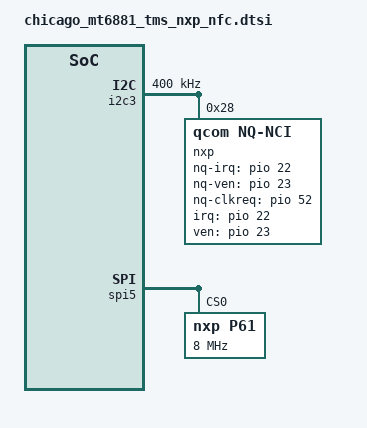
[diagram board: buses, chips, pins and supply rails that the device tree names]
//NFCC for Mediateckstart
&i2c3 {
    status = "okay";
    clock-frequency = <400000>;
    nxp@28 {
        compatible = "qcom,nq-nci";
        reg = <0x28>;
        qcom,nq-irq         = <&pio 22 0x00>;
        interrupt-parent    = <&pio>;
        interrupts          = <22 IRQ_TYPE_LEVEL_HIGH 22 0>;
        qcom,nq-ven         = <&pio 23 0x0>;
        qcom,nq-clkreq      = <&pio 52 0x0>;

        tms,device-name   = "tms_nfc";
        tms,device-count  = <1>;
        tms,irq-gpio         = <&pio 22 0x00>;
        tms,ven-gpio         = <&pio 23 0x0>;
        //tms,download-gpio    = <&pio xx 0x0>;

        interrupt-names = "nfc_irq";
        pinctrl-names   = "default", "nfc_active", "nfc_suspend";
        pinctrl-0 = <&nfc_default>;
        pinctrl-1 = <&nfc_int_active &nfc_enable_active
                    &nfc_clk_req_active>;
        pinctrl-2 = <&nfc_int_suspend &nfc_enable_suspend
                    &nfc_clk_req_suspend>;
    };
};
//&clock_buffer_ctrl {
//    mediatek,xo-bbck4 = <1>;
//};
&pio {
    nfc_default: nfc_default {
    };
    nfc_int_active: nfc_int_active {
        pins_cmd_dat {
            pinmux = <PINMUX_GPIO22__FUNC_GPIO22>;
            slew-rate = <0>;
            drive-strength = <MTK_DRIVE_2mA>;
            bias-pull-up;
        };
    };
    nfc_int_suspend: nfc_int_suspend {
        pins_cmd_dat {
            pinmux = <PINMUX_GPIO22__FUNC_GPIO22>;
            slew-rate = <0>;
            drive-strength = <MTK_DRIVE_2mA>;
            bias-pull-up;
        };
    };
    nfc_enable_active: nfc_enable_active {
        pins_cmd_dat {
            pinmux = <PINMUX_GPIO23__FUNC_GPIO23>;
            slew-rate = <1>;
            output-high;
            drive-strength = <MTK_DRIVE_2mA>;
            bias-pull-up=<MTK_PUPD_SET_R1R0_11>;
        };
    };
    nfc_enable_suspend: nfc_enable_suspend {
        pins_cmd_dat {
            pinmux = <PINMUX_GPIO23__FUNC_GPIO23>;
            slew-rate = <1>;
            drive-strength = <MTK_DRIVE_2mA>;
            bias-disable;
        };
    };
    nfc_clk_req_active: nfc_clk_req_active {
        pins_cmd_dat {
            pinmux = <PINMUX_GPIO52__FUNC_SRCLKENAI0>;
            slew-rate = <0>;
            input-enable;
            drive-strength = <MTK_DRIVE_2mA>;
            bias-pull-up;
        };
    };
    nfc_clk_req_suspend: nfc_clk_req_suspend {
        pins_cmd_dat {
            pinmux = <PINMUX_GPIO52__FUNC_SRCLKENAI0>;
            slew-rate = <0>;
            input-enable;
            drive-strength = <MTK_DRIVE_2mA>;
            bias-pull-down;
        };
    };
};
//NFCC end
/* eSE SPI configuration */
&spi5 {
    #address-cells = <1>;
    #size-cells = <0>;
    p61@31 {
        compatible = "nxp,p61";
        reg = <0>;
        nxp,nfcc = "3-0028";
        spi-max-frequency = <8000000>;
        status = "okay";
        tms,device-name    = "tms_ese";
        tms,device-count   = <1>;
        pinctrl-names = "nxp_ese_spi_mode";
        pinctrl-0 = <&nxp_ese_spi_mode>;
    };
};
&pio {
    nxp_ese_spi_mode: nxp_ese_spi_mode {
        pins_cmd_dat {
            pinmux = <PINMUX_GPIO31__FUNC_SPI5_MI>,
                    <PINMUX_GPIO30__FUNC_SPI5_MO>,
                    <PINMUX_GPIO28__FUNC_SPI5_CLK>,
                    <PINMUX_GPIO29__FUNC_SPI5_CSB>;
            drive-strength = <6>;
        };
    };
};
/* eSE SPI configuration -- end */
